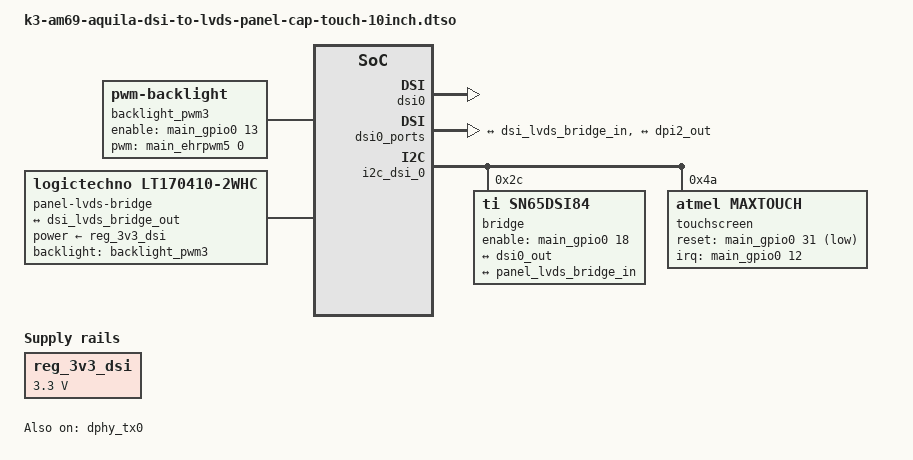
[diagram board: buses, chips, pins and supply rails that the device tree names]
// SPDX-License-Identifier: GPL-2.0-or-later OR MIT
/*
 * Copyright (c) Toradex
 *
 * Toradex DSI to LVDS Adapter on Aquila DSI_1 with Capacitive Touch Display 10.1"
 * Used on Development Board (J44), DSI_1 is exposed via a Samtec LSS-130 connector.
 *
 * https://developer.toradex.com/hardware/accessories/displays/capacitive-touch-display-101inch-lvds
 * https://www.toradex.com/accessories/capacitive-touch-display-10.1-inch-lvds
 * https://developer.toradex.com/hardware/accessories/add-ons/dsi-lvds-adapter
 * https://www.toradex.com/accessories/verdin-dsi-to-lvds-adapter
 */

/dts-v1/;
/plugin/;

#include <dt-bindings/gpio/gpio.h>
#include <dt-bindings/interrupt-controller/irq.h>
#include <dt-bindings/pwm/pwm.h>

&{/} {
	backlight_pwm3: backlight-pwm3 {
		compatible = "pwm-backlight";
		pinctrl-names = "default";
		pinctrl-0 = <&pinctrl_gpio_19_dsi_1>;
		brightness-levels = <0 45 63 88 119 158 203 255>;
		default-brightness-level = <4>;
		/* Aquila GPIO_19_DSI_1 (AQUILA B44) */
		enable-gpios = <&main_gpio0 13 GPIO_ACTIVE_HIGH>;
		/* Aquila PWM_3_DSI (AQUILA B46) */
		pwms = <&main_ehrpwm5 0 6666667 PWM_POLARITY_INVERTED>;
	};

	panel-lvds-bridge {
		compatible = "logictechno,lt170410-2whc";
		backlight = <&backlight_pwm3>;
		power-supply = <&reg_3v3_dsi>;

		port {
			panel_lvds_bridge_in: endpoint {
				remote-endpoint = <&dsi_lvds_bridge_out>;
			};
		};
	};

	reg_3v3_dsi: regulator-3v3-dsi {
		compatible = "regulator-fixed";
		regulator-max-microvolt = <3300000>;
		regulator-min-microvolt = <3300000>;
		regulator-name = "+V3.3_DSI";
	};
};

&dphy_tx0 {
	status = "okay";
};

&dsi0 {
	status = "okay";
};

&dsi0_ports {
	#address-cells = <1>;
	#size-cells = <0>;

	port@0 {
		reg = <0>;

		dsi0_out: endpoint {
			remote-endpoint = <&dsi_lvds_bridge_in>;
		};
	};

	port@1 {
		reg = <1>;

		dsi0_in: endpoint {
			remote-endpoint = <&dpi2_out>;
		};
	};
};

&dss_ports {
	#address-cells = <1>;
	#size-cells = <0>;

	port@2 {
		reg = <2>;

		dpi2_out: endpoint {
			remote-endpoint = <&dsi0_in>;
		};
	};
};

&i2c_dsi_0 {
	#address-cells = <1>;
	#size-cells = <0>;

	bridge@2c {
		compatible = "ti,sn65dsi84";
		reg = <0x2c>;
		pinctrl-names = "default";
		pinctrl-0 = <&pinctrl_gpio_20_dsi_1>;
		/* Aquila GPIO_20_DSI_1 (AQUILA B45) */
		enable-gpios = <&main_gpio0 18 GPIO_ACTIVE_HIGH>;

		ports {
			#address-cells = <1>;
			#size-cells = <0>;

			port@0 {
				reg = <0>;

				dsi_lvds_bridge_in: endpoint {
					remote-endpoint = <&dsi0_out>;
					data-lanes = <1 2 3 4>;
				};
			};

			port@2 {
				reg = <2>;

				dsi_lvds_bridge_out: endpoint {
					remote-endpoint = <&panel_lvds_bridge_in>;
				};
			};
		};
	};

	touchscreen@4a {
		compatible = "atmel,maxtouch";
		reg = <0x4a>;
		pinctrl-names = "default";
		pinctrl-0 = <&pinctrl_gpio_17_dsi_1>, <&pinctrl_gpio_18_dsi_1>;
		/* Aquila GPIO_17_DSI_1 (AQUILA B42) */
		interrupt-parent = <&main_gpio0>;
		interrupts = <12 IRQ_TYPE_EDGE_FALLING>;
		/* Aquila GPIO_18_DSI_1 (AQUILA B43) */
		reset-gpios = <&main_gpio0 31 GPIO_ACTIVE_LOW>;
	};
};
